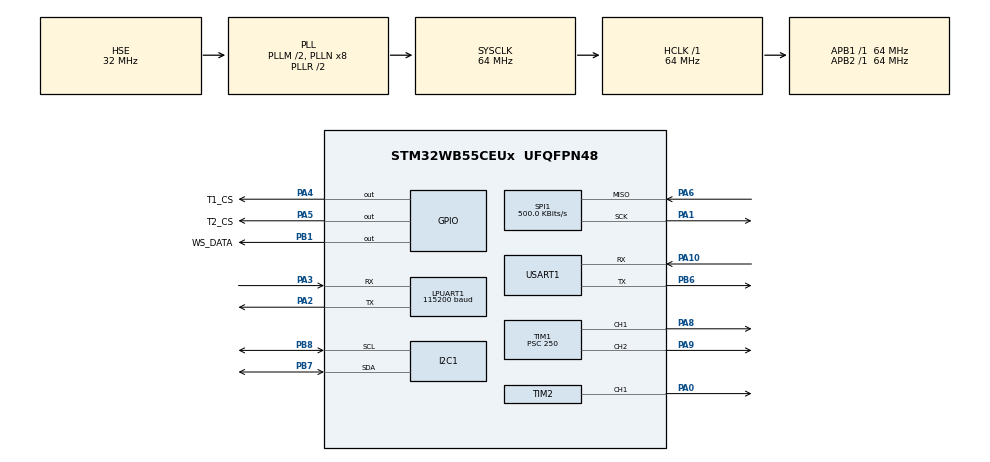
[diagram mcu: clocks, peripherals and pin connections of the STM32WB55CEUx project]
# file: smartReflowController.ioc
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I2C1.Timing=0x10707DBC
LPUART1.BaudRate=115200
Mcu.Family=STM32WB
Mcu.Name=STM32WB55CEUx
Mcu.Package=UFQFPN48
NVIC.LPUART1_IRQn=true\:0\:0\:false\:true\:true\:2\:true\:true\:true
NVIC.PriorityGroup=NVIC_PRIORITYGROUP_4
NVIC.TIM1_TRG_COM_TIM17_IRQn=true\:0\:0\:false\:false\:true\:true\:true\:true
NVIC.TIM1_UP_TIM16_IRQn=true\:0\:0\:false\:false\:true\:true\:true\:true
NVIC.TIM2_IRQn=true\:0\:0\:false\:true\:true\:3\:true\:true\:true
NVIC.USART1_IRQn=true\:0\:0\:false\:true\:true\:1\:true\:true\:true
OSC_IN.Mode=HSE-External-Oscillator
OSC_IN.Signal=RCC_OSC_IN
OSC_OUT.Mode=HSE-External-Oscillator
OSC_OUT.Signal=RCC_OSC_OUT
PA0.Signal=S_TIM2_CH1
PA1.Mode=RX_Only_Simplex_Unidirect_Master
PA1.Signal=SPI1_SCK
PA10.Mode=Asynchronous
PA10.Signal=USART1_RX
PA13.Mode=Serial_Wire
PA13.Signal=SYS_JTMS-SWDIO
PA14.Mode=Serial_Wire
PA14.Signal=SYS_JTCK-SWCLK
PA2.Mode=Asynchronous
PA2.Signal=LPUART1_TX
PA3.Mode=Asynchronous
PA3.Signal=LPUART1_RX
PA4.GPIO_Label=T1_CS
PA4.Signal=GPIO_Output
PA5.GPIO_Label=T2_CS
PA5.Signal=GPIO_Output
PA6.Mode=RX_Only_Simplex_Unidirect_Master
PA6.Signal=SPI1_MISO
PA8.Signal=S_TIM1_CH1
PA9.Signal=S_TIM1_CH2
PB1.GPIO_Label=WS_DATA
PB1.Signal=GPIO_Output
PB6.Mode=Asynchronous
PB6.Signal=USART1_TX
PB7.Mode=I2C
PB7.Signal=I2C1_SDA
PB8.Mode=I2C
PB8.Signal=I2C1_SCL
PC14-OSC32_IN.Mode=LSE-External-Oscillator
PC14-OSC32_IN.Signal=RCC_OSC32_IN
PC15-OSC32_OUT.Mode=LSE-External-Oscillator
PC15-OSC32_OUT.Signal=RCC_OSC32_OUT
ProjectManager.HeapSize=0x200
ProjectManager.StackSize=0x400
ProjectManager.TargetToolchain=STM32CubeIDE
RCC.ADCFreq_Value=48000000
RCC.AHB2CLKDivider=RCC_SYSCLK_DIV2
RCC.AHBFreq_Value=64000000
RCC.APB1Freq_Value=64000000
RCC.APB1TimFreq_Value=64000000
RCC.APB2Freq_Value=64000000
RCC.APB2TimFreq_Value=64000000
RCC.APB3Freq_Value=16000000
RCC.CortexFreq_Value=64000000
RCC.HCLKFreq_Value=64000000
RCC.HSE_VALUE=32000000
RCC.HSI48_VALUE=48000000
RCC.HSI_VALUE=16000000
RCC.LSISource1=RCC_LSCOSOURCE_LSI2
RCC.MSIClockRange=RCC_MSIRANGE_10
RCC.PLLM=RCC_PLLM_DIV2
RCC.PLLSAI1N=6
RCC.PLLSourceVirtual=RCC_PLLSOURCE_HSE
RCC.SYSCLKFreq_VALUE=64000000
RCC.SYSCLKSource=RCC_SYSCLKSOURCE_PLLCLK
RCC.USBFreq_Value=48000000
RCC.VCOOutputFreq_Value=128000000
SH.S_TIM1_CH1.0=TIM1_CH1,PWM Generation1 CH1
SH.S_TIM1_CH2.0=TIM1_CH2,PWM Generation2 CH2
SH.S_TIM2_CH1.0=TIM2_CH1,PWM Generation1 CH1
SPI1.BaudRatePrescaler=SPI_BAUDRATEPRESCALER_128
SPI1.CalculateBaudRate=500.0 KBits/s
SPI1.DataSize=SPI_DATASIZE_8BIT
SPI1.Direction=SPI_DIRECTION_2LINES_RXONLY
SPI1.Mode=SPI_MODE_MASTER
SPI1.VirtualType=VM_MASTER
TIM1.Channel-PWM\ Generation1\ CH1=TIM_CHANNEL_1
TIM1.Channel-PWM\ Generation2\ CH2=TIM_CHANNEL_2
TIM1.Period=512
TIM1.Prescaler=250
TIM16.Period=500
TIM16.Prescaler=64000
TIM17.Period=50
TIM17.Prescaler=64000-1
TIM2.Channel-PWM\ Generation1\ CH1=TIM_CHANNEL_1
TIM2.Period=4
TIM2.Prescaler=8000-1
TIM2.Pulse-PWM\ Generation1\ CH1=2
USART1.VirtualMode-Asynchronous=VM_ASYNC
VP_TIM16_VS_ClockSourceINT.Mode=Enable_Timer
VP_TIM17_VS_ClockSourceINT.Mode=Enable_Timer
board=custom

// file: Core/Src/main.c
/* USER CODE BEGIN Header */
/**
 ******************************************************************************
 * @file           : main.c
 * @brief          : Main program body
 ******************************************************************************
 * @attention
 *
 * Copyright (c) 2022 STMicroelectronics.
 * All rights reserved.
 *
 * This software is licensed under terms that can be found in the LICENSE file
 * in the root directory of this software component.
 * If no LICENSE file comes with this software, it is provided AS-IS.
 *
 ******************************************************************************
 */
/* USER CODE END Header */
#include "main.h"

/* USER CODE BEGIN Includes */
#include "stdarg.h"
#include "string.h"
#include "stdbool.h"
#include "stdio.h"
#include "math.h"

#include "MAX31855.h"
#include "pid.h"
#include "nextion.h"
/* USER CODE END Includes */

/* USER CODE BEGIN PTD */

struct _rfo_t {

	UART_HandleTypeDef* uart;
	uint8_t rcv[20];
	uint8_t trm[20];

	SPI_HandleTypeDef* spi;

	uint16_t idx;
	bool print;

	TIM_HandleTypeDef* buzPwmTim;
	TIM_HandleTypeDef* buzElapsTim;

	TIM_HandleTypeDef* ssrTim;

	uint8_t ssr1Ch;
	uint8_t ssr2Ch;

	uint8_t numBeeps;
	uint8_t cntBeeps;

	uint8_t currentReflowState;
	float targetTemp;
	uint32_t elaps;

	bool dataRdy;
	uint8_t packetId;
	float temp;
	float dTemp;

	uint16_t dutyCycle;
	uint16_t pwmFreq;

	uint8_t currentPage;
	uint8_t currentMode;

};
typedef struct _rfo_t rfo_t;

char *rfoCmdLut[] = {"pwm -s --duty", "pwm -s --freq", "temp -m --cont",
		"start -p --nonleaded", "stop" ,"calibrate", "help"
};

struct _rfo_fsm_t {
	bool connected;
	bool streaming;
	uint8_t state;
};
typedef struct _rfo_fsm_t rfo_fsm_t;

enum _rfoStates {
	RFO_IDLE,
	RFO_PROCESS_CMD,
	RFO_PWM_SET_FREQ,
	RFO_PWM_SET_DUTY,
	RFO_GET_TEMP,
	RFO_START,
	RFO_STOP,
	RFO_TRANSMIT,
	RFO_CALIBRATE,
	RFO_RESET,
	RFO_HELP,
	RFO_STATES,
};

enum _reflowStates_t
{
	REFLOW_STATE_IDLE,
	REFLOW_STATE_DEBUG,
	REFLOW_STATE_PREPARE,
	REFLOW_STATE_PREHEAT,
	REFLOW_STATE_SOAK,
	REFLOW_STATE_RAMP,
	REFLOW_STATE_REFLOW,
	REFLOW_STATE_COOL,
	REFLOW_STATE_COMPLETE,
	REFLOW_STATE_TOO_HOT,
	REFLOW_STATE_PLA,
	REFLOW_STATES
};

enum _dp_page_ids {
	DP_LOADING,
	DP_MAIN,
	DP_SETTINGS,
	DP_REFLOW,
	DP_FILAMENT,
	DP_MAINPLA,
	DP_PAGES
};

enum _rfo_modes {
	RFO_MODE_REFLOW,
	RFO_MODE_PLA,
	RFO_MODES
};
/* USER CODE END PTD */

/* USER CODE BEGIN PD */
#define MCU_FREQ_KHZ 64000
#define RFO_DEFAULT_DUTY 50
#define RFO_DEFAULT_PWM_FREQ_KHZ 10

#define SAMPLE_TIME 0.5f
#define DEBUG 0
/* USER CODE END PD */

/* USER CODE BEGIN PM */

#define _RFO_INIT(_dev, _uartHandle, _spiHandle, _buzPwmTim, _buzElapsTim, _ssrTim, _dutyCycle, _pwmFreq) \
		do{ \
			(_dev)-> uart =  _uartHandle; \
			(_dev)-> spi = _spiHandle; \
			(_dev)-> buzPwmTim = _buzPwmTim; \
			(_dev)-> buzElapsTim = _buzElapsTim; \
			(_dev)-> ssrTim = _ssrTim; \
			(_dev)-> numBeeps = 0; \
			(_dev)-> cntBeeps = 0; \
			(_dev)-> idx = 0; \
			(_dev)-> currentReflowState = REFLOW_STATE_IDLE; \
			(_dev)-> elaps = 0; \
			(_dev)-> targetTemp = 0; \
			(_dev)-> dataRdy = false; \
			(_dev)-> packetId = 0; \
			(_dev)-> temp = 0; \
			(_dev)-> dutyCycle = _dutyCycle; \
			(_dev)-> pwmFreq = _pwmFreq; \
			(_dev)-> currentPage = DP_LOADING; \
			(_dev)-> currentMode = RFO_MODE_REFLOW; \
		} while(0)

#define _RFO_FSM_INIT(_fsm) \
		do{ \
			(_fsm)->state = RFO_IDLE; \
			(_fsm)->connected = false; \
			(_fsm)->streaming = false; \
		} while(0)

#define _RFO_PERIPHERAL_INIT() \
		do{ \
			HAL_UART_Receive_IT(&hlpuart1, dev->rcv, 1);\
			__HAL_TIM_SET_COMPARE(&htim2, TIM_CHANNEL_1, 0);\
			HAL_TIM_PWM_Start(&htim2, TIM_CHANNEL_1);\
			__HAL_TIM_SET_COMPARE(&htim1, TIM_CHANNEL_1, 0);\
			__HAL_TIM_SET_COMPARE(&htim1, TIM_CHANNEL_2, 0);\
			HAL_TIM_PWM_Start(&htim1, TIM_CHANNEL_1);\
			HAL_TIM_PWM_Start(&htim1, TIM_CHANNEL_2);\
		} while(0)

/* USER CODE END PM */

I2C_HandleTypeDef hi2c1;

UART_HandleTypeDef hlpuart1;
UART_HandleTypeDef huart1;

SPI_HandleTypeDef hspi1;

TIM_HandleTypeDef htim1;
TIM_HandleTypeDef htim2;
TIM_HandleTypeDef htim16;
TIM_HandleTypeDef htim17;

/* USER CODE BEGIN PV */
rfo_t rfoDevObj;
rfo_t* dev = &rfoDevObj;

rfo_fsm_t rfoFsmObj;
rfo_fsm_t* fsm = & rfoFsmObj;

max31855_t max81855Obj;
max31855_t* tempSens = &max81855Obj;

PIDController pidObj;

PIDController* pid = &pidObj;

nextion_t dpObj;

nextion_t* dp = &dpObj;

/*
Lead-Free Reflow Curve
======================
Temperature (Degree Celcius)
245-|                                               x  x
    |                                            x   |     x
    |                                         x      |        x
    |                                      x         |           x
130-|                                   x            |              x
    |                              x    |            |              |   x
    |                         x         |            |              |       x
    |                    x              |            |              |
 90-|               x                   |            |              |
    |             x |                   |            |              |
    |           x   |                   |            |              |
    |         x     |                   |            |              |
    |       x       |                   |            |              |
    |     x         |                   |            |              |
    |   x           |                   |            |              |
30 -| x             |                   |            |              |
    |  <  90 s  >|<          90 s      >| <   30   > |
    | Preheat Stage |   Soaking Stage   | Ramp Stage |              | Cool
 0  |_ _ _ _ _ _ _ _|_ _ _ _ _ _ _ _ _ _|_ _ _ _ _ _ |_ _ _ _ _ _ _ |_ _ _ _ _
                                                               Time (Seconds)
 */

const float PREHEAT_START_TIME  =		0;
const float PREHEAT_DURATION	=		90.f;
const float PREHEAT_START_TEMP 	=		30.f;
const float PREHEAT_END_TEMP 	=		90.f;

const float SOAK_START_TIME 	=		PREHEAT_START_TIME+PREHEAT_DURATION+SAMPLE_TIME;
const float SOAK_DURATION 		=		90.f;
const float SOAK_START_TEMP 	=		90.f;
const float SOAK_END_TEMP 		=		130.f;

const float RAMP_START_TIME 	=		SOAK_START_TIME+SOAK_DURATION+SAMPLE_TIME;
const float RAMP_DURATION 		=		30.f;
const float RAMP_START_TEMP 	=		130.f;
const float RAMP_END_TEMP 		=		138.f;

const float REFLOW_START_TIME 	=		RAMP_START_TIME+RAMP_DURATION+SAMPLE_TIME;
const float REFLOW_DURATION		=		30.f;
const float REFLOW_START_TEMP 	=		138.f;
const float REFLOW_END_TEMP 	=		165.f;

const float COOL_START_TIME 	=		REFLOW_START_TIME + REFLOW_DURATION+SAMPLE_TIME;
const float COOL_DURATION		=		30.f;
const float COOL_END_TEMP 		=		138.f;

const float PREHEAT_TEMP_INCREASE 	=	((PREHEAT_END_TEMP-PREHEAT_START_TEMP)/PREHEAT_DURATION);
const float SOAK_TEMP_INCREASE 		= 	((SOAK_END_TEMP-SOAK_START_TEMP)/SOAK_DURATION);
const float RAMP_TEMP_INCREASE 		=	((RAMP_END_TEMP-RAMP_START_TEMP)/RAMP_DURATION);
const float REFLOW_TEMP_INCREASE 	=	((REFLOW_END_TEMP-REFLOW_START_TEMP)/RAMP_DURATION);
const float COOL_TEMP_DECREASE 		=	((REFLOW_END_TEMP-COOL_END_TEMP)/COOL_DURATION);

const float kP 					=		39;
const float kI 					=		1;
const float kD 					=		31;
const float tau			    	=		0.2f;
const float limMin 				=   	0;
const float limMax 				=   	256;
const float limMinInt 			=   	-60.0f;
const float limMaxInt 			=   	60.0f;

const float plaKp 					=		9.f;
const float plaKi 					=		.0002f;
const float plaKd 					=		2.2f;

const float plaTemp = 45;
const float plaDuration = 600;

const int reflowARR = 256;
const int plaARR = 512;
/* USER CODE END PV */

void SystemClock_Config(void);
void PeriphCommonClock_Config(void);
static void MX_GPIO_Init(void);
static void MX_I2C1_Init(void);
static void MX_LPUART1_UART_Init(void);
static void MX_USART1_UART_Init(void);
static void MX_SPI1_Init(void);
static void MX_TIM1_Init(void);
static void MX_TIM2_Init(void);
static void MX_TIM16_Init(void);
static void MX_TIM17_Init(void);
static void MX_NVIC_Init(void);
/* USER CODE BEGIN PFP */
void clear_buffer(uint8_t* buf, uint32_t len);
void beep_IT(rfo_t *dev, uint8_t numBeeps);
/* USER CODE END PFP */

/* USER CODE BEGIN 0 */
void clear_buffer(uint8_t* buf, uint32_t len)
{
	for(int z = 0; z < len; z++)
	{
		buf[z] = '\0';
	}
}

void beep_IT(rfo_t* dev, uint8_t numBeeps) {
	dev->numBeeps = numBeeps;
	dev->cntBeeps = 0;
	__HAL_TIM_SET_COMPARE(dev->buzPwmTim, TIM_CHANNEL_1, 2);
	__HAL_TIM_CLEAR_FLAG(dev->buzElapsTim, TIM_SR_UIF);
	HAL_TIM_Base_Start_IT(dev->buzElapsTim);

}

void delay_us (uint16_t us)
{
	HAL_TIM_Base_Start(&htim17);
	__HAL_TIM_SET_COUNTER(&htim17,0);  // set the counter value a 0
	(&htim17)->Instance->PSC = 64-1;
	(&htim17)->Instance->ARR = 64000-1;
	while (__HAL_TIM_GET_COUNTER(&htim17) < us);  // wait for the counter to reach the us input in the parameter
	HAL_TIM_Base_Stop(&htim17);
	(&htim17)->Instance->PSC = 64000-1;
	(&htim17)->Instance->ARR = 50;
}
/* USER CODE END 0 */

int main(void)
{

	/* MCU Configuration--------------------------------------------------------*/

	/* Reset of all peripherals, Initializes the Flash interface and the Systick. */
	HAL_Init();

	/* Configure the system clock */
	SystemClock_Config();

	/* Configure the peripherals common clocks */
	PeriphCommonClock_Config();

	/* Initialize all configured peripherals */
	MX_GPIO_Init();
	MX_I2C1_Init();
	MX_LPUART1_UART_Init();
	MX_USART1_UART_Init();
	MX_SPI1_Init();
	MX_TIM1_Init();
	MX_TIM2_Init();
	MX_TIM16_Init();
	MX_TIM17_Init();

	/* Initialize interrupts */
	MX_NVIC_Init();
	/* USER CODE BEGIN 2 */
	_RFO_INIT(dev, &hlpuart1, &hspi1 ,&htim2, &htim17, &htim2, RFO_DEFAULT_DUTY, RFO_DEFAULT_PWM_FREQ_KHZ);
	_RFO_FSM_INIT(fsm);

	HAL_UART_Receive(&huart1, dp->rcv, 50, 1000); // Resets UART buffers, so isr is not fired on boot
	HAL_UART_Receive_IT(&huart1, dp->rcv, 4);
	nextion_init(dp, &huart1);
	char buf[100];

	dp->write_id_val(dp, "j0", 0);

	_RFO_PERIPHERAL_INIT();

	MAX31855_init(tempSens, T1_CS_GPIO_Port, T1_CS_Pin, &hspi1);

	PIDController_Init(pid, kP, kI, kD, SAMPLE_TIME, tau, limMin, limMax, limMinInt, limMaxInt);

	dp->write_id_val(dp, "j0", 100);

	dp->write(dp, "page main");
	dev->currentPage = DP_MAIN;
	nextion_print_page(dp);
	beep_IT(dev,2);

	/* USER CODE END 2 */

	/* Infinite loop */
	while (1)
	{

		/* USER CODE BEGIN 3 */
		switch(fsm->state)
		{

		case RFO_IDLE:
			break;

		case RFO_PROCESS_CMD:
			if(dev->rcv[0] == '\r') {
				HAL_UART_Transmit(dev->uart, (uint8_t*)"\r\n", 2 , 100);
				buf[dev->idx] = '\0';
				for(int i = 0; i < 7; i++) {
					if(!strcmp(buf, rfoCmdLut[i]))
					{
						switch(i)
						{
						case 0:
							fsm->state = RFO_PWM_SET_DUTY;
							break;
						case 1:
							fsm->state = RFO_PWM_SET_FREQ;
							break;
						case 2:
							fsm->state = RFO_GET_TEMP;
							beep_IT(dev, 2);
							break;
						case 3:
							beep_IT(dev, 3);
							PIDController_Init(pid, kP, kI, kD, SAMPLE_TIME, tau, limMin, limMax, limMinInt, limMaxInt);
							__HAL_TIM_SET_AUTORELOAD(&htim1, reflowARR);
							fsm->state = RFO_START;
							dp->write(dp, "page reflow");
							dp->write_id_str(dp, "conState", "Connected");
							dp->write_id_str(dp, "reflowState", "Prepare");
							dp->write_id_val(dp, "reflowProgress", 0);
							dev->currentReflowState = REFLOW_STATE_PREPARE;
							HAL_TIM_Base_Start_IT(&htim16);
							break;
						case 4:
							fsm->state = RFO_STOP;
							break;
						case 5:
							fsm->state = RFO_CALIBRATE;
							break;
						case 6:
							fsm->state = RFO_HELP;
							break;
						default:
							break;
						}
						dev->idx = 0;
						break;
					}

				}

				if(fsm->state == RFO_PROCESS_CMD) {

					fsm->state = RFO_IDLE;

				}
				dev->idx = 0;
				clear_buffer((uint8_t*)buf, 100);

			}

			else if(dev->rcv[0] == '\177') {
				if(dev->idx > 0)
				{
					buf[dev->idx-1] = '\0';
					dev->idx -= 1;
					fsm->state = RFO_IDLE;
				}
			}

			else {
				buf[dev->idx] = dev->rcv[0];
				dev->idx += 1;
				clear_buffer((dev->rcv), 20);
				fsm->state = RFO_IDLE;
			}

			break;

		case RFO_PWM_SET_DUTY:
			__NOP();
			break;

		case RFO_PWM_SET_FREQ:
			__NOP();
			break;

		case RFO_GET_TEMP:
			__NOP();
			HAL_TIM_Base_Start_IT(&htim16);
			fsm->state = RFO_TRANSMIT;
			break;

		case RFO_START:
			__NOP();
			if(dev->dataRdy) {
				dev->dataRdy = false;

				PIDController_Update(pid, dev->targetTemp, dev->temp);

				__HAL_TIM_SET_COMPARE(&htim1, TIM_CHANNEL_1, pid->out);
				__HAL_TIM_SET_COMPARE(&htim1, TIM_CHANNEL_2, pid->out);

				sprintf(buf, "%.2f\n", dev->temp);
				HAL_UART_Transmit(dev->uart, (uint8_t*)buf, strlen(buf), 100);

				sprintf(buf, "%.2f\n", dev->targetTemp);
				HAL_UART_Transmit(dev->uart, (uint8_t*)buf, strlen(buf), 100);

				sprintf(buf, "%.2f\n", pid->out);
				HAL_UART_Transmit(dev->uart, (uint8_t*)buf, strlen(buf), 100);

			}
			break;

		case RFO_TRANSMIT:
			if(dev->dataRdy) {
				dev->dataRdy = false;
				sprintf(buf, "Temp is: %.2f\r\n", dev->temp);
				HAL_UART_Transmit(dev->uart, (uint8_t*)buf, strlen(buf), 100);
			}
			break;

		case RFO_STOP:
			break;

		case RFO_HELP:
			__NOP();
			sprintf(buf, "Help Page for RFO\r\n");
			HAL_UART_Transmit(dev->uart, (uint8_t*)buf, strlen(buf), 100);
			sprintf(buf, "Commands: ");
			HAL_UART_Transmit(dev->uart, (uint8_t*)buf, strlen(buf), 100);
			sprintf(buf, "pwm -<OPTION> --<INSTRUCTION>\r\n");
			HAL_UART_Transmit(dev->uart, (uint8_t*)buf, strlen(buf), 100);
			sprintf(buf, "          Options: -s\r\n");
			HAL_UART_Transmit(dev->uart, (uint8_t*)buf, strlen(buf), 100);
			sprintf(buf, "          Instructions: --duty, --freq");
			HAL_UART_Transmit(dev->uart, (uint8_t*)buf, strlen(buf), 100);

			sprintf(buf, "\r\n");
			HAL_UART_Transmit(dev->uart, (uint8_t*)buf, strlen(buf), 100);

			HAL_UART_Transmit(dev->uart, (uint8_t*)buf, strlen(buf), 100);
			sprintf(buf, "          temp -<OPTION> --<INSTRUCTION>\r\n");
			HAL_UART_Transmit(dev->uart, (uint8_t*)buf, strlen(buf), 100);
			sprintf(buf, "          Options: -m\r\n");
			HAL_UART_Transmit(dev->uart, (uint8_t*)buf, strlen(buf), 100);
			sprintf(buf, "          Instructions: --cont, --single\r\n");
			HAL_UART_Transmit(dev->uart, (uint8_t*)buf, strlen(buf), 100);

			sprintf(buf, "\r\n");
			HAL_UART_Transmit(dev->uart, (uint8_t*)buf, strlen(buf), 100);

			sprintf(buf, "          start -<OPTION> --<INSTRUCTION>\r\n");
			HAL_UART_Transmit(dev->uart, (uint8_t*)buf, strlen(buf), 100);
			sprintf(buf, "          Options: -p\r\n");
			HAL_UART_Transmit(dev->uart, (uint8_t*)buf, strlen(buf), 100);
			sprintf(buf, "          Instructions: --nonleaded, --leaded\r\n");
			HAL_UART_Transmit(dev->uart, (uint8_t*)buf, strlen(buf), 100);

			fsm->state = RFO_IDLE;
			break;

		}

	}
	/* USER CODE END 3 */
}

void SystemClock_Config(void)
{
	RCC_OscInitTypeDef RCC_OscInitStruct = {0};
	RCC_ClkInitTypeDef RCC_ClkInitStruct = {0};

	/** Configure the main internal regulator output voltage
	 */
	__HAL_PWR_VOLTAGESCALING_CONFIG(PWR_REGULATOR_VOLTAGE_SCALE1);

	/** Initializes the RCC Oscillators according to the specified parameters
	 * in the RCC_OscInitTypeDef structure.
	 */
	RCC_OscInitStruct.OscillatorType = RCC_OSCILLATORTYPE_HSI|RCC_OSCILLATORTYPE_HSE;
	RCC_OscInitStruct.HSEState = RCC_HSE_ON;
	RCC_OscInitStruct.HSIState = RCC_HSI_ON;
	RCC_OscInitStruct.HSICalibrationValue = RCC_HSICALIBRATION_DEFAULT;
	RCC_OscInitStruct.PLL.PLLState = RCC_PLL_ON;
	RCC_OscInitStruct.PLL.PLLSource = RCC_PLLSOURCE_HSE;
	RCC_OscInitStruct.PLL.PLLM = RCC_PLLM_DIV2;
	RCC_OscInitStruct.PLL.PLLN = 8;
	RCC_OscInitStruct.PLL.PLLP = RCC_PLLP_DIV2;
	RCC_OscInitStruct.PLL.PLLR = RCC_PLLR_DIV2;
	RCC_OscInitStruct.PLL.PLLQ = RCC_PLLQ_DIV2;
	if (HAL_RCC_OscConfig(&RCC_OscInitStruct) != HAL_OK)
	{
		Error_Handler();
	}

	/** Configure the SYSCLKSource, HCLK, PCLK1 and PCLK2 clocks dividers
	 */
	RCC_ClkInitStruct.ClockType = RCC_CLOCKTYPE_HCLK4|RCC_CLOCKTYPE_HCLK2
			|RCC_CLOCKTYPE_HCLK|RCC_CLOCKTYPE_SYSCLK
			|RCC_CLOCKTYPE_PCLK1|RCC_CLOCKTYPE_PCLK2;
	RCC_ClkInitStruct.SYSCLKSource = RCC_SYSCLKSOURCE_PLLCLK;
	RCC_ClkInitStruct.AHBCLKDivider = RCC_SYSCLK_DIV1;
	RCC_ClkInitStruct.APB1CLKDivider = RCC_HCLK_DIV1;
	RCC_ClkInitStruct.APB2CLKDivider = RCC_HCLK_DIV1;
	RCC_ClkInitStruct.AHBCLK2Divider = RCC_SYSCLK_DIV2;
	RCC_ClkInitStruct.AHBCLK4Divider = RCC_SYSCLK_DIV1;

	if (HAL_RCC_ClockConfig(&RCC_ClkInitStruct, FLASH_LATENCY_3) != HAL_OK)
	{
		Error_Handler();
	}
}

void PeriphCommonClock_Config(void)
{
	RCC_PeriphCLKInitTypeDef PeriphClkInitStruct = {0};

	/** Initializes the peripherals clock
	 */
	PeriphClkInitStruct.PeriphClockSelection = RCC_PERIPHCLK_SMPS;
	PeriphClkInitStruct.SmpsClockSelection = RCC_SMPSCLKSOURCE_HSI;
	PeriphClkInitStruct.SmpsDivSelection = RCC_SMPSCLKDIV_RANGE1;

	if (HAL_RCCEx_PeriphCLKConfig(&PeriphClkInitStruct) != HAL_OK)
	{
		Error_Handler();
	}
}

/**
 * @brief NVIC Configuration.
 * @retval None
 */
static void MX_NVIC_Init(void)
{
	/* USART1_IRQn interrupt configuration */
	HAL_NVIC_SetPriority(USART1_IRQn, 0, 0);
	HAL_NVIC_EnableIRQ(USART1_IRQn);
	/* LPUART1_IRQn interrupt configuration */
	HAL_NVIC_SetPriority(LPUART1_IRQn, 0, 0);
	HAL_NVIC_EnableIRQ(LPUART1_IRQn);
	/* TIM2_IRQn interrupt configuration */
	HAL_NVIC_SetPriority(TIM2_IRQn, 0, 0);
	HAL_NVIC_EnableIRQ(TIM2_IRQn);
}

static void MX_I2C1_Init(void)
{

	hi2c1.Instance = I2C1;
	hi2c1.Init.Timing = 0x10707DBC;
	hi2c1.Init.OwnAddress1 = 0;
	hi2c1.Init.AddressingMode = I2C_ADDRESSINGMODE_7BIT;
	hi2c1.Init.DualAddressMode = I2C_DUALADDRESS_DISABLE;
	hi2c1.Init.OwnAddress2 = 0;
	hi2c1.Init.OwnAddress2Masks = I2C_OA2_NOMASK;
	hi2c1.Init.GeneralCallMode = I2C_GENERALCALL_DISABLE;
	hi2c1.Init.NoStretchMode = I2C_NOSTRETCH_DISABLE;
	if (HAL_I2C_Init(&hi2c1) != HAL_OK)
	{
		Error_Handler();
	}

	/** Configure Analogue filter
	 */
	if (HAL_I2CEx_ConfigAnalogFilter(&hi2c1, I2C_ANALOGFILTER_ENABLE) != HAL_OK)
	{
		Error_Handler();
	}

	/** Configure Digital filter
	 */
	if (HAL_I2CEx_ConfigDigitalFilter(&hi2c1, 0) != HAL_OK)
	{
		Error_Handler();
	}

}

static void MX_LPUART1_UART_Init(void)
{

	hlpuart1.Instance = LPUART1;
	hlpuart1.Init.BaudRate = 115200;
	hlpuart1.Init.WordLength = UART_WORDLENGTH_8B;
	hlpuart1.Init.StopBits = UART_STOPBITS_1;
	hlpuart1.Init.Parity = UART_PARITY_NONE;
	hlpuart1.Init.Mode = UART_MODE_TX_RX;
	hlpuart1.Init.HwFlowCtl = UART_HWCONTROL_NONE;
	hlpuart1.Init.OneBitSampling = UART_ONE_BIT_SAMPLE_DISABLE;
	hlpuart1.Init.ClockPrescaler = UART_PRESCALER_DIV1;
	hlpuart1.AdvancedInit.AdvFeatureInit = UART_ADVFEATURE_NO_INIT;
	hlpuart1.FifoMode = UART_FIFOMODE_DISABLE;
	if (HAL_UART_Init(&hlpuart1) != HAL_OK)
	{
		Error_Handler();
	}
	if (HAL_UARTEx_SetTxFifoThreshold(&hlpuart1, UART_TXFIFO_THRESHOLD_1_8) != HAL_OK)
	{
		Error_Handler();
	}
	if (HAL_UARTEx_SetRxFifoThreshold(&hlpuart1, UART_RXFIFO_THRESHOLD_1_8) != HAL_OK)
	{
		Error_Handler();
	}
	if (HAL_UARTEx_DisableFifoMode(&hlpuart1) != HAL_OK)
	{
		Error_Handler();
	}

}

static void MX_USART1_UART_Init(void)
{

	huart1.Instance = USART1;
	huart1.Init.BaudRate = 115200;
	huart1.Init.WordLength = UART_WORDLENGTH_8B;
	huart1.Init.StopBits = UART_STOPBITS_1;
	huart1.Init.Parity = UART_PARITY_NONE;
	huart1.Init.Mode = UART_MODE_TX_RX;
	huart1.Init.HwFlowCtl = UART_HWCONTROL_NONE;
	huart1.Init.OverSampling = UART_OVERSAMPLING_16;
	huart1.Init.OneBitSampling = UART_ONE_BIT_SAMPLE_DISABLE;
	huart1.Init.ClockPrescaler = UART_PRESCALER_DIV1;
	huart1.AdvancedInit.AdvFeatureInit = UART_ADVFEATURE_NO_INIT;
	if (HAL_UART_Init(&huart1) != HAL_OK)
	{
		Error_Handler();
	}
	if (HAL_UARTEx_SetTxFifoThreshold(&huart1, UART_TXFIFO_THRESHOLD_1_8) != HAL_OK)
	{
		Error_Handler();
	}
	if (HAL_UARTEx_SetRxFifoThreshold(&huart1, UART_RXFIFO_THRESHOLD_1_8) != HAL_OK)
	{
		Error_Handler();
	}
	if (HAL_UARTEx_DisableFifoMode(&huart1) != HAL_OK)
	{
		Error_Handler();
	}

}

static void MX_SPI1_Init(void)
{

	/* SPI1 parameter configuration*/
	hspi1.Instance = SPI1;
	hspi1.Init.Mode = SPI_MODE_MASTER;
	hspi1.Init.Direction = SPI_DIRECTION_2LINES_RXONLY;
	hspi1.Init.DataSize = SPI_DATASIZE_8BIT;
	hspi1.Init.CLKPolarity = SPI_POLARITY_LOW;
	hspi1.Init.CLKPhase = SPI_PHASE_1EDGE;
	hspi1.Init.NSS = SPI_NSS_SOFT;
	hspi1.Init.BaudRatePrescaler = SPI_BAUDRATEPRESCALER_128;
	hspi1.Init.FirstBit = SPI_FIRSTBIT_MSB;
	hspi1.Init.TIMode = SPI_TIMODE_DISABLE;
	hspi1.Init.CRCCalculation = SPI_CRCCALCULATION_DISABLE;
	hspi1.Init.CRCPolynomial = 7;
	hspi1.Init.CRCLength = SPI_CRC_LENGTH_DATASIZE;
	hspi1.Init.NSSPMode = SPI_NSS_PULSE_ENABLE;
	if (HAL_SPI_Init(&hspi1) != HAL_OK)
	{
		Error_Handler();
	}

}

static void MX_TIM1_Init(void)
{

	TIM_MasterConfigTypeDef sMasterConfig = {0};
	TIM_OC_InitTypeDef sConfigOC = {0};
	TIM_BreakDeadTimeConfigTypeDef sBreakDeadTimeConfig = {0};

	htim1.Instance = TIM1;
	htim1.Init.Prescaler = 250;
	htim1.Init.CounterMode = TIM_COUNTERMODE_UP;
	htim1.Init.Period = 512;
	htim1.Init.ClockDivision = TIM_CLOCKDIVISION_DIV1;
	htim1.Init.RepetitionCounter = 0;
	htim1.Init.AutoReloadPreload = TIM_AUTORELOAD_PRELOAD_DISABLE;
	if (HAL_TIM_PWM_Init(&htim1) != HAL_OK)
	{
		Error_Handler();
	}
	sMasterConfig.MasterOutputTrigger = TIM_TRGO_RESET;
	sMasterConfig.MasterOutputTrigger2 = TIM_TRGO2_RESET;
	sMasterConfig.MasterSlaveMode = TIM_MASTERSLAVEMODE_DISABLE;
	if (HAL_TIMEx_MasterConfigSynchronization(&htim1, &sMasterConfig) != HAL_OK)
	{
		Error_Handler();
	}
	sConfigOC.OCMode = TIM_OCMODE_PWM1;
	sConfigOC.Pulse = 0;
	sConfigOC.OCPolarity = TIM_OCPOLARITY_HIGH;
	sConfigOC.OCNPolarity = TIM_OCNPOLARITY_HIGH;
	sConfigOC.OCFastMode = TIM_OCFAST_DISABLE;
	sConfigOC.OCIdleState = TIM_OCIDLESTATE_RESET;
	sConfigOC.OCNIdleState = TIM_OCNIDLESTATE_RESET;
	if (HAL_TIM_PWM_ConfigChannel(&htim1, &sConfigOC, TIM_CHANNEL_1) != HAL_OK)
	{
		Error_Handler();
	}
	if (HAL_TIM_PWM_ConfigChannel(&htim1, &sConfigOC, TIM_CHANNEL_2) != HAL_OK)
	{
		Error_Handler();
	}
	sBreakDeadTimeConfig.OffStateRunMode = TIM_OSSR_DISABLE;
	sBreakDeadTimeConfig.OffStateIDLEMode = TIM_OSSI_DISABLE;
	sBreakDeadTimeConfig.LockLevel = TIM_LOCKLEVEL_OFF;
	sBreakDeadTimeConfig.DeadTime = 0;
	sBreakDeadTimeConfig.BreakState = TIM_BREAK_DISABLE;
	sBreakDeadTimeConfig.BreakPolarity = TIM_BREAKPOLARITY_HIGH;
	sBreakDeadTimeConfig.BreakFilter = 0;
	sBreakDeadTimeConfig.BreakAFMode = TIM_BREAK_AFMODE_INPUT;
	sBreakDeadTimeConfig.Break2State = TIM_BREAK2_DISABLE;
	sBreakDeadTimeConfig.Break2Polarity = TIM_BREAK2POLARITY_HIGH;
	sBreakDeadTimeConfig.Break2Filter = 0;
	sBreakDeadTimeConfig.Break2AFMode = TIM_BREAK_AFMODE_INPUT;
	sBreakDeadTimeConfig.AutomaticOutput = TIM_AUTOMATICOUTPUT_DISABLE;
	if (HAL_TIMEx_ConfigBreakDeadTime(&htim1, &sBreakDeadTimeConfig) != HAL_OK)
	{
		Error_Handler();
	}
	HAL_TIM_MspPostInit(&htim1);

}

static void MX_TIM2_Init(void)
{

	TIM_MasterConfigTypeDef sMasterConfig = {0};
	TIM_OC_InitTypeDef sConfigOC = {0};

	htim2.Instance = TIM2;
	htim2.Init.Prescaler = 8000-1;
	htim2.Init.CounterMode = TIM_COUNTERMODE_UP;
	htim2.Init.Period = 4;
	htim2.Init.ClockDivision = TIM_CLOCKDIVISION_DIV1;
	htim2.Init.AutoReloadPreload = TIM_AUTORELOAD_PRELOAD_DISABLE;
	if (HAL_TIM_PWM_Init(&htim2) != HAL_OK)
	{
		Error_Handler();
	}
	sMasterConfig.MasterOutputTrigger = TIM_TRGO_RESET;
	sMasterConfig.MasterSlaveMode = TIM_MASTERSLAVEMODE_DISABLE;
	if (HAL_TIMEx_MasterConfigSynchronization(&htim2, &sMasterConfig) != HAL_OK)
	{
		Error_Handler();
	}
	sConfigOC.OCMode = TIM_OCMODE_PWM1;
	sConfigOC.Pulse = 2;
	sConfigOC.OCPolarity = TIM_OCPOLARITY_HIGH;
	sConfigOC.OCFastMode = TIM_OCFAST_DISABLE;
	if (HAL_TIM_PWM_ConfigChannel(&htim2, &sConfigOC, TIM_CHANNEL_1) != HAL_OK)
	{
		Error_Handler();
	}
	HAL_TIM_MspPostInit(&htim2);

}

static void MX_TIM16_Init(void)
{

	htim16.Instance = TIM16;
	htim16.Init.Prescaler = 64000;
	htim16.Init.CounterMode = TIM_COUNTERMODE_UP;
	htim16.Init.Period = 500;
	htim16.Init.ClockDivision = TIM_CLOCKDIVISION_DIV1;
	htim16.Init.RepetitionCounter = 0;
	htim16.Init.AutoReloadPreload = TIM_AUTORELOAD_PRELOAD_DISABLE;
	if (HAL_TIM_Base_Init(&htim16) != HAL_OK)
	{
		Error_Handler();
	}

}

static void MX_TIM17_Init(void)
{

	htim17.Instance = TIM17;
	htim17.Init.Prescaler = 64000-1;
	htim17.Init.CounterMode = TIM_COUNTERMODE_UP;
	htim17.Init.Period = 50;
	htim17.Init.ClockDivision = TIM_CLOCKDIVISION_DIV1;
	htim17.Init.RepetitionCounter = 0;
	htim17.Init.AutoReloadPreload = TIM_AUTORELOAD_PRELOAD_DISABLE;
	if (HAL_TIM_Base_Init(&htim17) != HAL_OK)
	{
		Error_Handler();
	}

}

static void MX_GPIO_Init(void)
{
	GPIO_InitTypeDef GPIO_InitStruct = {0};

	/* GPIO Ports Clock Enable */
	__HAL_RCC_GPIOC_CLK_ENABLE();
	__HAL_RCC_GPIOB_CLK_ENABLE();
	__HAL_RCC_GPIOA_CLK_ENABLE();

	/*Configure GPIO pin Output Level */
	HAL_GPIO_WritePin(GPIOA, T1_CS_Pin|T2_CS_Pin, GPIO_PIN_RESET);

	/*Configure GPIO pin Output Level */
	HAL_GPIO_WritePin(WS_DATA_GPIO_Port, WS_DATA_Pin, GPIO_PIN_RESET);

	/*Configure GPIO pins : T1_CS_Pin T2_CS_Pin */
	GPIO_InitStruct.Pin = T1_CS_Pin|T2_CS_Pin;
	GPIO_InitStruct.Mode = GPIO_MODE_OUTPUT_PP;
	GPIO_InitStruct.Pull = GPIO_NOPULL;
	GPIO_InitStruct.Speed = GPIO_SPEED_FREQ_LOW;
	HAL_GPIO_Init(GPIOA, &GPIO_InitStruct);

	/*Configure GPIO pin : WS_DATA_Pin */
	GPIO_InitStruct.Pin = WS_DATA_Pin;
	GPIO_InitStruct.Mode = GPIO_MODE_OUTPUT_PP;
	GPIO_InitStruct.Pull = GPIO_NOPULL;
	GPIO_InitStruct.Speed = GPIO_SPEED_FREQ_LOW;
	HAL_GPIO_Init(WS_DATA_GPIO_Port, &GPIO_InitStruct);

}

/* USER CODE BEGIN 4 */

void HAL_UART_TxCpltCallback(UART_HandleTypeDef *huart) {
	dp->trmRdy = 1;
}

void HAL_UART_RxCpltCallback(UART_HandleTypeDef *huart)
{
	if(huart->Instance == LPUART1){
		if(HAL_UART_Transmit(dev->uart, dev->rcv, 1, 1000) == HAL_OK) {
			fsm->state = RFO_PROCESS_CMD;
			HAL_UART_Receive_IT(dev->uart, dev->rcv, 1);
		}
	}
	else if(huart->Instance == USART1)  {

		nextion_decode_response(dp);

		switch(dp->response.page) {
		case DP_MAIN:  // page num main
			switch(dp->response.id) {
			case 2: // id of start button
				beep_IT(dev,3);
				PIDController_Init(pid, kP, kI, kD, SAMPLE_TIME, tau, limMin, limMax, limMinInt, limMaxInt);
				__HAL_TIM_SET_AUTORELOAD(&htim1, reflowARR);
				dp->write(dp, "page reflow");
				dp->write_id_str(dp, "conState", "Not connected");
				dp->write_id_str(dp, "reflowState", "Prepare");
				dp->write_id_val(dp, "reflowProgress", 0);
				fsm->state = RFO_START;
				dev->currentReflowState = REFLOW_STATE_PREPARE;
				dev->print = true;
				HAL_TIM_Base_Start_IT(&htim16);
				break;
			case 3: // id of settings button
				beep_IT(dev,1);
				dp->write(dp, "page setting");
				dev->currentPage = DP_SETTINGS;
				break;
			}
			break;

			case DP_SETTINGS: // page num settings
				switch(dp->response.id) {
				case 2: // id of back arrow button
					dp->write(dp, "page main");
					dev->currentPage = DP_MAIN;
					nextion_print_page(dp);
					break;
				case 3: // id of modeBT button
					beep_IT(dev,1);
					break;
				case 5: // id of apply button
					beep_IT(dev,2);
					if(dp->response.data == RFO_MODE_REFLOW) {
						PIDController_Init(pid, kP, kI, kD, SAMPLE_TIME, tau, limMin, limMax, limMinInt, limMaxInt);
						__HAL_TIM_SET_AUTORELOAD(&htim1, reflowARR);
						dp->write(dp, "page main");
						dev->currentPage = DP_MAIN;
						nextion_print_page(dp);
					}
					else if(dp->response.data == RFO_MODE_PLA) {
						PIDController_Init(pid, plaKp, plaKi, plaKd, SAMPLE_TIME, tau, limMin, limMax, limMinInt, limMaxInt);
						__HAL_TIM_SET_AUTORELOAD(&htim1, plaARR);
						dp->write(dp, "page mainPLA");
						dev->currentPage = DP_MAINPLA;
						dev->targetTemp = plaTemp;
						dp->write_id_float(dp, "plaTargetTemp", plaTemp);
						dp->write_id_float(dp, "t2", plaDuration);
					}
					break;
				}
				break;

				case 3:
					switch(dp->response.id) {
					case 15: // id of abort button
						beep_IT(dev,3);
						HAL_TIM_Base_Stop_IT(&htim16);
						dev->currentReflowState = REFLOW_STATE_IDLE;
						fsm->state = RFO_IDLE;
						dev->elaps = 0;
						__HAL_TIM_SET_COMPARE(&htim1, TIM_CHANNEL_1, 0);
						__HAL_TIM_SET_COMPARE(&htim1, TIM_CHANNEL_2, 0);
						dp->write(dp, "page main");
						dev->currentPage = DP_MAIN;
						nextion_print_page(dp);
						break;
					}
					break;
					case DP_MAINPLA:
						switch(dp->response.id) {
						case 2: // id of start button
							beep_IT(dev,3);
							dp->write(dp, "page filament");
							dp->write_id_str(dp, "temp", "0");
							dp->write_id_str(dp, "dur", "0");
							dp->write_id_val(dp, "j0", 0);
							fsm->state = RFO_START;
							dev->currentReflowState = REFLOW_STATE_PLA;
							dev->print = true;
							HAL_TIM_Base_Start_IT(&htim16);
							break;
						case 3: // id of settings button
							beep_IT(dev,1);
							dp->write(dp, "page setting");
							dev->currentPage = DP_SETTINGS;
							break;
						}
						break;
						case 4:
							switch(dp->response.id) {
							case 4: // id of PLA abort button
								beep_IT(dev,3);
								HAL_TIM_Base_Stop_IT(&htim16);
								dev->currentReflowState = REFLOW_STATE_IDLE;
								fsm->state = RFO_IDLE;
								dev->elaps = 0;
								__HAL_TIM_SET_COMPARE(&htim1, TIM_CHANNEL_1, 0);
								__HAL_TIM_SET_COMPARE(&htim1, TIM_CHANNEL_2, 0);
								dp->write(dp, "page mainPLA");
								dev->currentPage = DP_MAINPLA;
								dp->write_id_float(dp, "plaTargetTemp", plaTemp);
								dp->write_id_float(dp, "t2", plaDuration);
								break;
							}
							break;
							break;

		}

		HAL_UART_Receive_IT(&huart1, dp->rcv, 4);
	}
}

void HAL_TIM_PeriodElapsedCallback(TIM_HandleTypeDef *htim) {
	if(htim->Instance == TIM17) {

		if(dev->cntBeeps == 2*dev->numBeeps-1) {
			__HAL_TIM_SET_COMPARE(dev->buzPwmTim, TIM_CHANNEL_1, 0);
			HAL_TIM_Base_Stop_IT(dev->buzElapsTim);
			dev->cntBeeps = 0;
		}

		if(dev->cntBeeps % 2) {
			__HAL_TIM_SET_COMPARE(dev->buzPwmTim, TIM_CHANNEL_1, 2);
		}
		else {
			__HAL_TIM_SET_COMPARE(dev->buzPwmTim, TIM_CHANNEL_1, 0);
		}

		dev->cntBeeps += 1;

	}
	else if(htim->Instance == TIM16) {

		MAX31855_read_celsius(tempSens);
		dev->elaps += 1;
		dev->temp = tempSens->temp;

		switch(dev->currentReflowState){

		case REFLOW_STATE_PLA:
			dev->targetTemp = plaTemp;
			dp->write_id_float(dp, "temp", tempSens->temp);
			dp->write_id_float(dp, "pidVal", pid->out);

			if(!(dev->elaps % 2)) {
				int num = dev->elaps/2;
				sprintf(dev->trm, "%d", num);
				dp->write_id_str(dp, "dur", dev->trm);
			}
			if(dev->elaps == 28800) {
				beep_IT(dev,3);
				HAL_TIM_Base_Stop_IT(&htim16);
				dev->currentReflowState = REFLOW_STATE_IDLE;
				fsm->state = RFO_IDLE;
				dev->elaps = 0;
				__HAL_TIM_SET_COMPARE(&htim1, TIM_CHANNEL_1, 0);
				__HAL_TIM_SET_COMPARE(&htim1, TIM_CHANNEL_2, 0);
				dp->write(dp, "page mainPLA");
				dev->currentPage = DP_MAINPLA;
				dp->write_id_float(dp, "plaTargetTemp", plaTemp);
				dp->write_id_float(dp, "t2", plaDuration);
				break;
			}

			break;

		case REFLOW_STATE_IDLE:
			break;

		case REFLOW_STATE_PREPARE:
			dev->targetTemp = 256;

			if(dev->temp > PREHEAT_START_TEMP) {
				beep_IT(dev,2);
				dev->currentReflowState = REFLOW_STATE_PREHEAT;
				dev->elaps = 0;
			}
			break;

		case REFLOW_STATE_PREHEAT:
			dp->write_id_str(dp, "reflowState", "PREHEAT");
			if(!(dev->elaps % 4) || dev->elaps == 1) {
				dev->targetTemp = (float)PREHEAT_START_TEMP + (PREHEAT_TEMP_INCREASE*SAMPLE_TIME)*dev->elaps;
			}

			if(dev->elaps == (float)PREHEAT_DURATION/SAMPLE_TIME) {
				beep_IT(dev,2);
				dev->currentReflowState = REFLOW_STATE_SOAK;
				dev->elaps = 0;
			}
			break;

		case REFLOW_STATE_SOAK:
			dp->write_id_str(dp, "reflowState", "SOAK");
			if(!(dev->elaps % 4) || dev->elaps == 1) {
				dev->targetTemp = (float)SOAK_START_TEMP + (SOAK_TEMP_INCREASE*SAMPLE_TIME)*dev->elaps;
			}
			if(dev->elaps == (float)SOAK_DURATION/SAMPLE_TIME) {
				beep_IT(dev,2);
				dev->currentReflowState = REFLOW_STATE_RAMP;
				dev->elaps = 0;
				pid->Kp = 50;
			}
			break;

		case REFLOW_STATE_RAMP:
			dp->write_id_str(dp, "reflowState", "RAMP");
			if(!(dev->elaps % 4) || dev->elaps == 1) {
				dev->targetTemp = (float)RAMP_START_TEMP + (RAMP_TEMP_INCREASE*SAMPLE_TIME)*dev->elaps;
			}
			if(dev->elaps == (float)RAMP_DURATION/SAMPLE_TIME) {
				beep_IT(dev,2);
				dev->currentReflowState = REFLOW_STATE_REFLOW;
				dev->elaps = 0;
			}
			break;

		case REFLOW_STATE_REFLOW:
			dp->write_id_str(dp, "reflowState", "REFLOW");
			if(!(dev->elaps % 4) || dev->elaps == 1) {
				dev->targetTemp = REFLOW_START_TEMP + (REFLOW_TEMP_INCREASE*SAMPLE_TIME)*dev->elaps;
			}
			if(dev->elaps == REFLOW_DURATION/SAMPLE_TIME) {
				beep_IT(dev,2);
				dev->currentReflowState = REFLOW_STATE_COOL;
				dev->elaps = 0;
			}
			break;
		case REFLOW_STATE_COOL:
			dp->write_id_str(dp, "reflowState", "COOL");
			if(!(dev->elaps % 4) || dev->elaps == 1) {
				dev->targetTemp = REFLOW_END_TEMP - (COOL_TEMP_DECREASE*SAMPLE_TIME)*dev->elaps;
			}
			if(dev->elaps == (float)COOL_DURATION/SAMPLE_TIME) {
				HAL_TIM_Base_Stop_IT(&htim16);
				__HAL_TIM_SET_COMPARE(&htim1, TIM_CHANNEL_1, 0);
				__HAL_TIM_SET_COMPARE(&htim1, TIM_CHANNEL_2, 0);
				beep_IT(dev,5);
				dev->currentReflowState = REFLOW_STATE_IDLE;
				dev->elaps = 0;
				dp->write(dp, "page main");
				dev->currentPage = DP_MAIN;
				nextion_print_page(dp);
			}
			break;

		}
		if(dev->currentReflowState != REFLOW_STATE_IDLE && dev->currentReflowState != REFLOW_STATE_PLA) {
			dp->write_id_float(dp, "targetTemp", dev->targetTemp);
			dp->write_id_float(dp, "currentTemp", dev->temp);
			dp->write_id_float(dp, "tempDiff", dev->targetTemp-dev->temp);
			dp->write_id_float(dp, "pidVal", pid->out);
		}

		dev->dataRdy = true;

	}

}
/* USER CODE END 4 */

void Error_Handler(void)
{
	__disable_irq();
	while (1)
	{
	}
}
